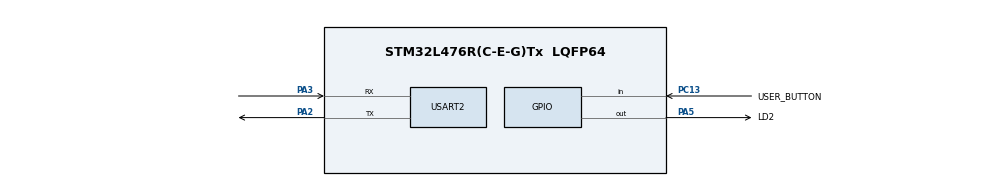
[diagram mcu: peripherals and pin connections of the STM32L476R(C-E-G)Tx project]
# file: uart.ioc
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Mcu.Family=STM32L4
Mcu.Name=STM32L476R(C-E-G)Tx
Mcu.Package=LQFP64
NVIC.PriorityGroup=NVIC_PRIORITYGROUP_4
PA13\ (JTMS-SWDIO).Mode=Serial_Wire
PA13\ (JTMS-SWDIO).Signal=SYS_JTMS-SWDIO
PA14\ (JTCK-SWCLK).Mode=Serial_Wire
PA14\ (JTCK-SWCLK).Signal=SYS_JTCK-SWCLK
PA2.Mode=Asynchronous
PA2.Signal=USART2_TX
PA3.Mode=Asynchronous
PA3.Signal=USART2_RX
PA5.GPIO_Label=LD2
PA5.Signal=GPIO_Output
PC13.GPIO_Label=USER_BUTTON
PC13.Signal=GPIO_Input
ProjectManager.HeapSize=0x200
ProjectManager.StackSize=0x400
ProjectManager.TargetToolchain=STM32CubeIDE
RCC.HSE_VALUE=8000000
RCC.HSI_VALUE=16000000
RCC.LSE_VALUE=32768
RCC.MSI_VALUE=4000000
RCC.VCOOutputFreq_Value=32000000
USART2.OverrunDisableParam=ADVFEATURE_OVERRUN_DISABLE
USART2.VirtualMode-Asynchronous=VM_ASYNC
board=custom

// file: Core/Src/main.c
/* USER CODE BEGIN Header */
/**
  ******************************************************************************
  * @file           : main.c
  * @brief          : Main program body
  ******************************************************************************
  * @attention
  *
  * Copyright (c) 2024 STMicroelectronics.
  * All rights reserved.
  *
  * This software is licensed under terms that can be found in the LICENSE file
  * in the root directory of this software component.
  * If no LICENSE file comes with this software, it is provided AS-IS.
  *
  ******************************************************************************
  */
/* USER CODE END Header */
#include "main.h"

/* USER CODE BEGIN Includes */
#include <string.h>
#include <stdio.h>
#include <stdbool.h>

/* USER CODE END Includes */

UART_HandleTypeDef huart2;

void SystemClock_Config(void);
static void MX_GPIO_Init(void);
static void MX_USART2_UART_Init(void);

/* USER CODE BEGIN 0 */
int __io_putchar(int ch)
{
    if (ch == '\n') {
        uint8_t ch2 = '\r';
        HAL_UART_Transmit(&huart2, &ch2, 1, HAL_MAX_DELAY);
    }

    HAL_UART_Transmit(&huart2, (uint8_t*)&ch, 1, HAL_MAX_DELAY);
    return 1;
}
#define LINE_MAX_LENGTH	80
static char line_buffer[LINE_MAX_LENGTH + 1];
static uint32_t line_length;

void line_append(uint8_t value)
{
	if (value == '\r' || value == '\n') {
		// odebraliśmy znak końca linii
		if (line_length > 0) {
			// dodajemy 0 na końcu linii
			line_buffer[line_length] = '\0';
			// przetwarzamy dane
			if (strcmp(line_buffer, "on") == 0) {
				HAL_GPIO_WritePin(LD2_GPIO_Port, LD2_Pin, GPIO_PIN_SET);
			} else if (strcmp(line_buffer, "off") == 0) {
				HAL_GPIO_WritePin(LD2_GPIO_Port, LD2_Pin, GPIO_PIN_RESET);
			} else {
				printf("Nieznane polecenie: %s\n", line_buffer);
			}
			// zaczynamy zbieranie danych od nowa
			line_length = 0;
		}
	}
	else {
		if (line_length >= LINE_MAX_LENGTH) {
			// za dużo danych, usuwamy wszystko co odebraliśmy dotychczas
			line_length = 0;
		}
		// dopisujemy wartość do bufora
		line_buffer[line_length++] = value;
	}
}

bool is_button_pressed(void) {

	if (HAL_GPIO_ReadPin(USER_BUTTON_GPIO_Port, USER_BUTTON_Pin) == GPIO_PIN_RESET)
	      return true;
	else
		return false;
}

/* USER CODE END 0 */

int main(void)
{

  /* MCU Configuration--------------------------------------------------------*/

  /* Reset of all peripherals, Initializes the Flash interface and the Systick. */
  HAL_Init();

  /* Configure the system clock */
  SystemClock_Config();

  /* Initialize all configured peripherals */
  MX_GPIO_Init();
  MX_USART2_UART_Init();

  /* Infinite loop */
  /* USER CODE BEGIN WHILE */
  /*
  const char message[] = "Hello world!\r\n";
  HAL_UART_Transmit(&huart2, (uint8_t*)message, strlen(message), HAL_MAX_DELAY);
  printf("Hello world- print!\r\n");
  printf("Hej %s! Co u Ciebie?\r\n", "FORBOT");
  printf("Domin\n");
  float pi = 3.14f;
  printf("Liczba pi to: %f\n", pi);
  */
  printf("Domin\n");
  int licznik = 0;
  while (1)
  {

	  /*//słabe rozwiązanie, które gubi dane odbierane, opcja override wyłaczona
	   *
	  uint8_t value;
	  	  HAL_UART_Receive(&huart2, &value, 1, HAL_MAX_DELAY);

	  	  printf("Odebrano: %c\n", value);*/
	  //inne słabe rozwiązanie, któe pozwala jedynie na odbieraniei pojedyńczych znaków, ale gubi większe teksty
	  /*
	  uint8_t value;
	  	  if (HAL_UART_Receive(&huart2, &value, 1, 2000) == HAL_OK) {
	  		  printf("Odebrano: %c\n", value);
	  	  } else {
	  		  printf(".");
	  		  fflush(stdout);
	  	  }*/
	  //kod pozwalający za pomocą bufora na wysyłanie większych linijek tekstowych - zatwierdzenie ENTER
	  uint8_t value;
	  	  if (HAL_UART_Receive(&huart2, &value, 1, 0) == HAL_OK)
	  		  line_append(value);

	  	if(is_button_pressed()== true){
	  		licznik++;
	  		while (is_button_pressed())
	  		{}
	  	}
	  	//printf("Stan licznika: %i\n", licznik);

	  	if (licznik == 10)
	  		HAL_GPIO_WritePin(LD2_GPIO_Port, LD2_Pin, GPIO_PIN_SET);

    /* USER CODE END WHILE */

  }
}

void SystemClock_Config(void)
{
  RCC_OscInitTypeDef RCC_OscInitStruct = {0};
  RCC_ClkInitTypeDef RCC_ClkInitStruct = {0};

  /** Configure the main internal regulator output voltage
  */
  if (HAL_PWREx_ControlVoltageScaling(PWR_REGULATOR_VOLTAGE_SCALE1) != HAL_OK)
  {
    Error_Handler();
  }

  /** Initializes the RCC Oscillators according to the specified parameters
  * in the RCC_OscInitTypeDef structure.
  */
  RCC_OscInitStruct.OscillatorType = RCC_OSCILLATORTYPE_MSI;
  RCC_OscInitStruct.MSIState = RCC_MSI_ON;
  RCC_OscInitStruct.MSICalibrationValue = 0;
  RCC_OscInitStruct.MSIClockRange = RCC_MSIRANGE_6;
  RCC_OscInitStruct.PLL.PLLState = RCC_PLL_NONE;
  if (HAL_RCC_OscConfig(&RCC_OscInitStruct) != HAL_OK)
  {
    Error_Handler();
  }

  /** Initializes the CPU, AHB and APB buses clocks
  */
  RCC_ClkInitStruct.ClockType = RCC_CLOCKTYPE_HCLK|RCC_CLOCKTYPE_SYSCLK
                              |RCC_CLOCKTYPE_PCLK1|RCC_CLOCKTYPE_PCLK2;
  RCC_ClkInitStruct.SYSCLKSource = RCC_SYSCLKSOURCE_MSI;
  RCC_ClkInitStruct.AHBCLKDivider = RCC_SYSCLK_DIV1;
  RCC_ClkInitStruct.APB1CLKDivider = RCC_HCLK_DIV1;
  RCC_ClkInitStruct.APB2CLKDivider = RCC_HCLK_DIV1;

  if (HAL_RCC_ClockConfig(&RCC_ClkInitStruct, FLASH_LATENCY_0) != HAL_OK)
  {
    Error_Handler();
  }
}

static void MX_USART2_UART_Init(void)
{

  huart2.Instance = USART2;
  huart2.Init.BaudRate = 115200;
  huart2.Init.WordLength = UART_WORDLENGTH_8B;
  huart2.Init.StopBits = UART_STOPBITS_1;
  huart2.Init.Parity = UART_PARITY_NONE;
  huart2.Init.Mode = UART_MODE_TX_RX;
  huart2.Init.HwFlowCtl = UART_HWCONTROL_NONE;
  huart2.Init.OverSampling = UART_OVERSAMPLING_16;
  huart2.Init.OneBitSampling = UART_ONE_BIT_SAMPLE_DISABLE;
  huart2.AdvancedInit.AdvFeatureInit = UART_ADVFEATURE_RXOVERRUNDISABLE_INIT;
  huart2.AdvancedInit.OverrunDisable = UART_ADVFEATURE_OVERRUN_DISABLE;
  if (HAL_UART_Init(&huart2) != HAL_OK)
  {
    Error_Handler();
  }

}

static void MX_GPIO_Init(void)
{
  GPIO_InitTypeDef GPIO_InitStruct = {0};

  /* GPIO Ports Clock Enable */
  __HAL_RCC_GPIOC_CLK_ENABLE();
  __HAL_RCC_GPIOA_CLK_ENABLE();

  /*Configure GPIO pin Output Level */
  HAL_GPIO_WritePin(LD2_GPIO_Port, LD2_Pin, GPIO_PIN_RESET);

  /*Configure GPIO pin : USER_BUTTON_Pin */
  GPIO_InitStruct.Pin = USER_BUTTON_Pin;
  GPIO_InitStruct.Mode = GPIO_MODE_INPUT;
  GPIO_InitStruct.Pull = GPIO_NOPULL;
  HAL_GPIO_Init(USER_BUTTON_GPIO_Port, &GPIO_InitStruct);

  /*Configure GPIO pin : LD2_Pin */
  GPIO_InitStruct.Pin = LD2_Pin;
  GPIO_InitStruct.Mode = GPIO_MODE_OUTPUT_PP;
  GPIO_InitStruct.Pull = GPIO_NOPULL;
  GPIO_InitStruct.Speed = GPIO_SPEED_FREQ_LOW;
  HAL_GPIO_Init(LD2_GPIO_Port, &GPIO_InitStruct);

}

void Error_Handler(void)
{
  __disable_irq();
  while (1)
  {
  }
}
